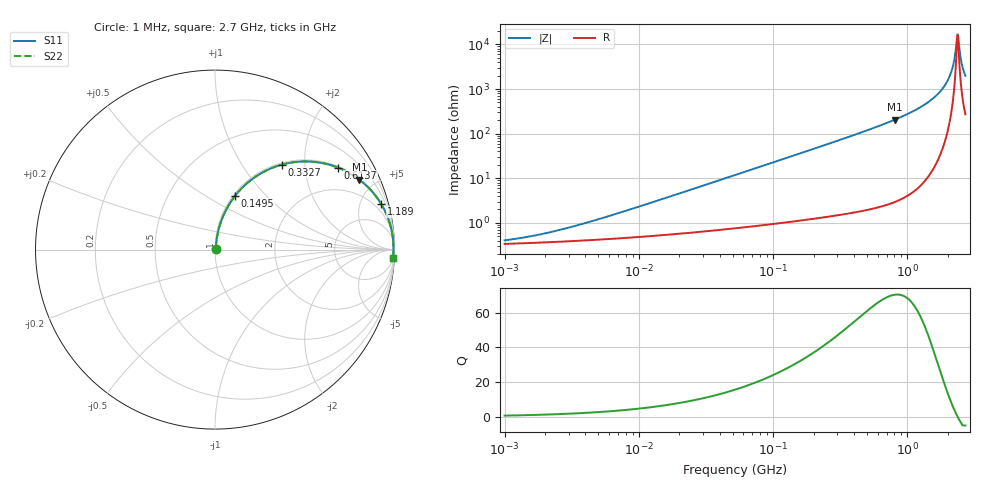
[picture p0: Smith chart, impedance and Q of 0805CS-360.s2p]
# MHz S MA R 50
!Freq  MagS11  AngS11  MagS21  AngS21  MagS12  AngS12  MagS22  AngS22
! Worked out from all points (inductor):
!   801 points, 1 MHz to 2.7 GHz, reference 50 ohm
!   read as one part in series: L = 36 nH near 5.744 MHz
!   highest Q = 70.3 at 801.3 MHz (marker M1), where L = 40.7 nH
!   self-resonance near 2.351 GHz
!   S11 on the Smith chart (normalised r, x): 1 MHz: 1.01, +0.00; 149.5 MHz: 1.02, +0.68; 332.7 MHz: 1.03, +1.54; 613.7 MHz: 1.04, +2.98; 1.189 GHz: 1.12, +7.21; 2.7 GHz: 6, -39
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1  0.004046 33.7  0.9966 -0.1  0.9966 -0.1  0.004046 33.7
1.86303  0.005533 49.1  0.9964 -0.2  0.9964 -0.2  0.005533 49.1
3.756241  0.009353 64.3  0.996 -0.5  0.996 -0.5  0.009353 64.3
13.97068  0.03185 78.8  0.9943 -1.8  0.9943 -1.8  0.03185 78.8
52.47725  0.1173 79.6  0.9857 -6.7  0.9857 -6.7  0.1173 79.6
149.495  0.3185 69.6  0.9377 -18.6  0.9377 -18.6  0.3185 69.6
195.18  0.4022 64.7  0.9046 -23.7  0.9046 -23.7  0.4022 64.7
332.6997  0.6032 51.8  0.7855 -37.1  0.7855 -37.1  0.6032 51.8
613.7381  0.8244 33.6  0.5537 -55.5  0.5537 -55.5  0.8244 33.6
725.938  0.8704 28.7  0.48 -60.5  0.48 -60.5  0.8704 28.7
801.2934  0.8936 25.9  0.4363 -63.3  0.4363 -63.3  0.8936 25.9
1189.487  0.9595 15.4  0.2663 -73.6  0.2663 -73.6  0.9595 15.4
1583.969  0.9844 8.7  0.1514 -79.7  0.1514 -79.7  0.9844 8.7
1910.916  0.9923 4.6  0.07963 -82.2  0.07963 -82.2  0.9923 4.6
2027.575  0.9936 3.3  0.05741 -82.0  0.05741 -82.0  0.9936 3.3
2130.212  0.9942 2.2  0.03906 -80.4  0.03906 -80.4  0.9942 2.2
2194.272  0.9944 1.6  0.02817 -77.8  0.02817 -77.8  0.9944 1.6
2305.348  0.9945 0.5  0.0108 -59.0  0.0108 -59.0  0.9945 0.5
2351.337  0.9944 0.1  0.005952 -19.1  0.005952 -19.1  0.9944 0.1
2422.047  0.9941 -0.5  0.01077 56.6  0.01077 56.6  0.9941 -0.5
2569.909  0.9932 -1.8  0.03172 76.7  0.03172 76.7  0.9932 -1.8
2700  0.992 -2.8  0.04992 79.3  0.04992 79.3  0.992 -2.8
